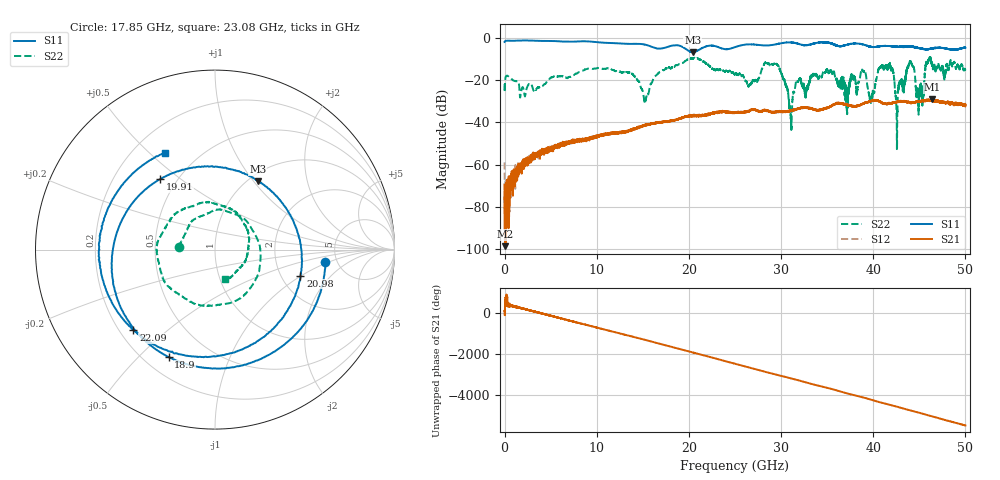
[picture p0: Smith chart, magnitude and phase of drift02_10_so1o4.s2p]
!Created with skrf (http://scikit-rf.org).
# Hz S RI R 50.0
!freq ReS11 ImS11 ReS21 ImS21 ReS12 ImS12 ReS22 ImS22
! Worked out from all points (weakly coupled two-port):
!   10001 points, 300 kHz to 50 GHz, reference 50 ohm
!   highest |S21| = -29.10 dB at 46.4 GHz (marker M1); lowest = -98.5 dB at 95.3 MHz (marker M2)
!   lowest |S11| = -6.9 dB at 20.41 GHz (marker M3), VSWR 2.63, Z = 55 + j52.6 ohm
!   |S11| at or under -10 dB: nowhere
!   |S22| runs from -52.6 to -9.2 dB; largest |S21 - S12| = 0.0034
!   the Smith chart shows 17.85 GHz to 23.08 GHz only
!   S11 on the Smith chart (normalised r, x): 17.85 GHz: 4.03, -0.89; 18.9 GHz: 0.30, -0.62; 19.91 GHz: 0.40, +0.42; 20.98 GHz: 2.55, -0.98; 22.09 GHz: 0.26, -0.39; 23.08 GHz: 0.33, +0.56
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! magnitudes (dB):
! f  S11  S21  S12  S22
! 300 kHz  -2.1  -69.4  -58.9  -21.8
! 95.3 MHz  -1.5  -98.5  -85.5  -18.8
! 8.335 GHz  -1.7  -48.4  -48.5  -15.8
! 15.3 GHz  -3.4  -41.3  -41.3  -29.5
! 16.67 GHz  -5.2  -40.2  -40.1  -16.9
! 17.85 GHz  -4.2  -39.5  -39.4  -14.0
! 18.9 GHz  -3.7  -38.5  -38.4  -12.6
! 19.91 GHz  -6.1  -37.1  -37.1  -10.2
! 20.41 GHz  -6.9  -36.7  -36.9  -10.0
! 20.98 GHz  -6.1  -36.8  -36.6  -9.8
! 22.09 GHz  -3.9  -36.3  -36.4  -12.8
! 23.08 GHz  -4.3  -35.1  -35.4  -15.1
! 25 GHz  -4.5  -35.5  -35.4  -17.3
! 29.5 GHz  -3.1  -34.8  -35.1  -12.5
! 31.04 GHz  -2.3  -34.2  -34.5  -35.5
! 33.34 GHz  -3.0  -33.6  -33.5  -18.3
! 38.92 GHz  -3.3  -31.1  -31.1  -15.9
! 39.76 GHz  -4.3  -30.0  -29.9  -28.6
! 41.67 GHz  -4.0  -31.1  -31.1  -12.6
! 42.56 GHz  -4.3  -30.6  -30.2  -44.4
! 46.4 GHz  -5.0  -29.1  -29.6  -11.9
! 50 GHz  -4.7  -31.7  -31.7  -15.2
